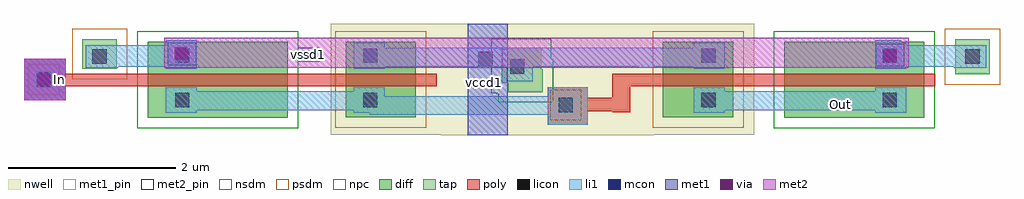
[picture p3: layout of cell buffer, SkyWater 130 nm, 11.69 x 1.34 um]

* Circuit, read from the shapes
.subckt buffer In Out vccd1 vssd1
XM1 vssd1 In n1 vssd1 sky130_fd_pr__nfet_01v8 w=1.68 l=0.15
XM2 vssd1 n1 Out vssd1 sky130_fd_pr__nfet_01v8 w=1.68 l=0.15
XM3 vccd1 In n1 vccd1 sky130_fd_pr__pfet_01v8 w=0.84 l=0.15
XM4 vccd1 n1 Out vccd1 sky130_fd_pr__pfet_01v8 w=0.84 l=0.15
.ends

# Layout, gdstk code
import gdstk
lib = gdstk.Library(unit=1e-6, precision=1e-09)
def R(c, l, rs):  # rectangles x0, y0, x1, y1
    for r in rs: c.add(gdstk.rectangle(r[:2], r[2:], *l))
nwell = (64, 20)
diff = (65, 20)
tap = (65, 44)
poly = (66, 20)
licon = (66, 44)
li1 = (67, 20)
mcon = (67, 44)
met1_pin = (68, 16)
met1 = (68, 20)
via = (68, 44)
met2_pin = (69, 16)
met2 = (69, 20)
nsdm = (93, 44)
psdm = (94, 20)
npc = (95, 20)

buffer = lib.new_cell('buffer')
R(buffer, nwell, [(-0.06,0.1,2.49,0.11), (-1.38,0.11,3.69,1.44)])
R(buffer, diff, [(-3.57,0.31,-1.89,1.22), (4.05,0.31,5.73,1.22), (-1.2,0.32,-0.36,1.22), (2.6,0.32,3.44,1.22)])
R(buffer, tap, [(0.75,0.62,1.16,0.73), (0.67,0.73,1.16,0.89), (6.1,0.83,6.51,1.25), (0.67,0.89,1.14,1.13), (-4.35,0.9,-3.94,1.25)])
R(buffer, poly, [(1.22,0.23,1.7,0.39), (1.99,0.38,2.21,0.39), (1.22,0.39,2.21,0.55), (-5.05,0.52,-4.55,0.69), (1.22,0.55,1.7,0.68), (1.99,0.55,2.21,0.69), (-5.05,0.69,-0.11,0.84), (1.99,0.69,5.86,0.84), (-5.05,0.84,-4.55,1.02)])
R(buffer, licon, [(1.35,0.38,1.52,0.55), (-3.24,0.44,-3.07,0.61), (-0.99,0.44,-0.82,0.61), (3.06,0.44,3.23,0.61), (5.23,0.44,5.4,0.61), (-4.9,0.685,-4.73,0.855), (0.77,0.84,0.94,1.01), (-4.23,0.96,-4.06,1.13), (6.22,0.96,6.39,1.13), (-3.24,0.97,-3.07,1.14), (-0.99,0.97,-0.82,1.14), (3.06,0.97,3.23,1.14), (5.23,0.97,5.4,1.14)])
R(buffer, li1, [(1.22,0.23,1.7,0.35), (-0.91,0.35,1.7,0.37), (-3.35,0.37,-2.98,0.4), (-1.1,0.37,1.7,0.4), (2.97,0.37,3.34,0.4), (5.14,0.37,5.51,0.4), (-3.35,0.4,1.7,0.57), (2.97,0.4,5.51,0.63), (-5.05,0.52,-4.55,1.02), (-3.35,0.57,-0.73,0.63), (1.22,0.57,1.7,0.68), (-3.35,0.63,-2.98,0.68), (-1.1,0.63,-0.73,0.68), (2.97,0.63,3.34,0.68), (5.14,0.63,5.51,0.68), (0.73,0.75,1.04,0.92), (-3.35,0.9,-2.98,0.92), (-1.1,0.9,-0.73,0.92), (2.97,0.9,3.34,0.92), (5.14,0.9,5.51,0.92), (-4.31,0.91,-3.92,0.92), (2.32,0.91,2.49,0.92), (6.08,0.91,6.47,0.92), (-4.31,0.92,-2.98,1.18), (-1.1,0.92,3.34,1.15), (5.14,0.92,6.47,1.18), (-1.1,1.15,-0.73,1.21), (2.97,1.15,3.34,1.21), (-3.35,1.18,-2.98,1.24), (5.14,1.18,5.51,1.21), (5.14,1.21,5.45,1.24)])
R(buffer, mcon, [(-4.9,0.685,-4.73,0.855), (0.39,0.93,0.56,1.1), (-3.24,0.97,-3.07,1.14), (5.23,0.97,5.4,1.14)])
R(buffer, met1_pin, [(0.46,0.73,0.465,0.735)])
R(buffer, met1, [(0.26,0.1,0.74,1.44), (-5.05,0.52,-4.55,1.02), (5.15,0.93,5.49,1.2), (-3.33,0.94,-2.99,1.21)])
R(buffer, via, [(-4.89,0.695,-4.74,0.845), (5.245,0.985,5.395,1.135), (-3.245,1.005,-3.095,1.155)])
R(buffer, met2_pin, [(-1.77,0.98,-1.51,1.15)])
R(buffer, met2, [(-5.05,0.52,-4.55,1.02), (-3.37,0.91,5.54,1.27)])
R(buffer, nsdm, [(-3.695,0.185,-1.765,1.345), (3.925,0.185,5.855,1.345), (0.625,0.495,1.285,0.605), (0.545,0.605,1.285,1.015), (0.545,1.015,1.265,1.255)])
R(buffer, psdm, [(-1.325,0.195,-0.235,1.345), (2.475,0.195,3.565,1.345), (5.975,0.705,6.635,1.375), (-4.475,0.775,-3.815,1.375)])
R(buffer, npc, [(1.25,0.28,1.62,0.65), (-5,0.585,-4.63,0.955)])
buffer.add(gdstk.Label('Out', (4.73,0.47), layer=67, texttype=5))
buffer.add(gdstk.Label('In', (-4.62,0.77), layer=69, texttype=5))
buffer.add(gdstk.Label('vssd1', (-1.64,1.065), layer=69, texttype=5))
buffer.add(gdstk.Label('vccd1', (0.462,0.732), layer=68, texttype=5))

lib.write_gds('buffer.gds')
